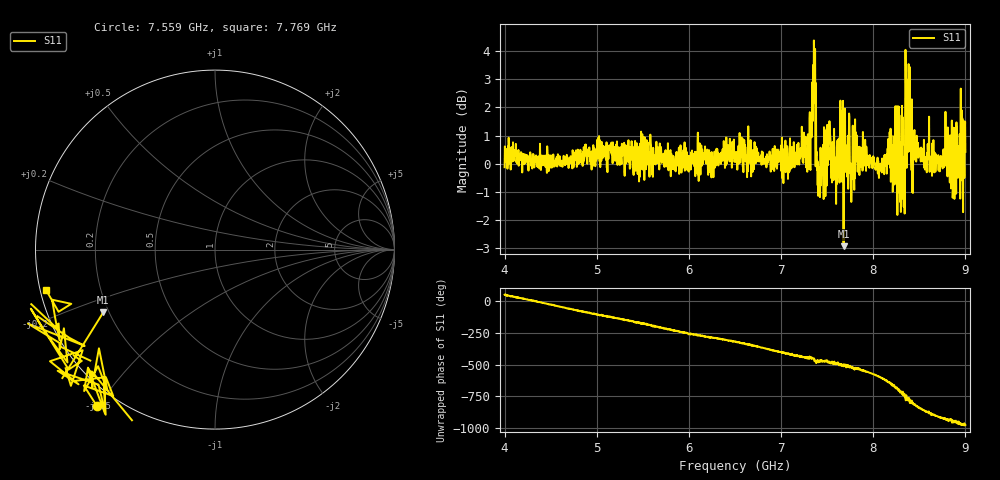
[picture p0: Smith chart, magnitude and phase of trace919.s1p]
! Created with skrf 1.8.0 (http://scikit-rf.org).
# Hz S RI R 50.0
!freq ReS11 ImS11
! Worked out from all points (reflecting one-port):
!   1601 points, 4 GHz to 9 GHz, reference 50 ohm
!   lowest |S11| = -2.9 dB at 7.678 GHz (marker M1), VSWR 6.01, Z = 8.88 - j12.7 ohm
!   phase of S11 starts at 53 deg and turns -1031 deg over the sweep
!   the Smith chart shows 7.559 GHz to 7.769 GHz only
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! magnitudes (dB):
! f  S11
! 4 GHz  -0.1
! 4.625 GHz  -0.1
! 5.25 GHz  0.0
! 5.875 GHz  -0.1
! 6.5 GHz  0.4
! 7.125 GHz  0.5
! 7.294 GHz  -0.1
! 7.347 GHz  3.5
! 7.366 GHz  2.2
! 7.397 GHz  -0.8
! 7.412 GHz  -0.2
! 7.509 GHz  0.0
! 7.591 GHz  -0.3
! 7.65 GHz  1.3
! 7.678 GHz  -2.9
! 7.75 GHz  -0.3
! 7.775 GHz  0.2
! 7.822 GHz  0.4
! 8.094 GHz  -0.3
! 8.238 GHz  0.0
! 8.262 GHz  -1.8
! 8.316 GHz  0.7
! 8.334 GHz  0.1
! 8.347 GHz  2.4
! 8.375 GHz  0.6
! 8.438 GHz  0.1
! 8.556 GHz  -0.2
! 9 GHz  0.4
